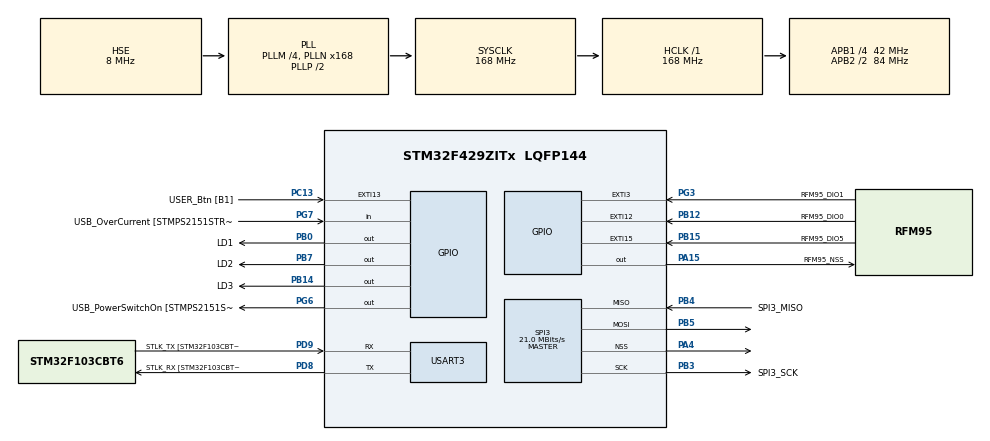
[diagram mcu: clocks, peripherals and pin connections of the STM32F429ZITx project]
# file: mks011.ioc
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Mcu.Family=STM32F4
Mcu.Name=STM32F429ZITx
Mcu.Package=LQFP144
NVIC.EXTI15_10_IRQn=true\:0\:0\:false\:false\:true\:true\:true\:true
NVIC.EXTI3_IRQn=true\:0\:0\:false\:false\:true\:true\:true\:true
NVIC.PriorityGroup=NVIC_PRIORITYGROUP_4
NVIC.SPI3_IRQn=true\:0\:0\:false\:false\:true\:true\:true\:true
PA1.GPIO_Label=RMII_REF_CLK [LAN8742A-CZ-TR_REFCLK0]
PA1.Signal=ETH_REF_CLK
PA10.GPIO_Label=USB_ID
PA10.Signal=USB_OTG_FS_ID
PA11.GPIO_Label=USB_DM
PA11.Signal=USB_OTG_FS_DM
PA12.GPIO_Label=USB_DP
PA12.Signal=USB_OTG_FS_DP
PA13.GPIO_Label=TMS
PA13.Mode=Serial_Wire
PA13.Signal=SYS_JTMS-SWDIO
PA14.GPIO_Label=TCK
PA14.Mode=Serial_Wire
PA14.Signal=SYS_JTCK-SWCLK
PA15.GPIO_Label=RFM95_NSS
PA15.Signal=GPIO_Output
PA2.GPIO_Label=RMII_MDIO [LAN8742A-CZ-TR_MDIO]
PA2.Signal=ETH_MDIO
PA4.Mode=NSS_Signal_Hard_Output
PA4.Signal=SPI3_NSS
PA7.GPIO_Label=RMII_CRS_DV [LAN8742A-CZ-TR_CRS_DV]
PA7.Signal=ETH_CRS_DV
PA8.GPIO_Label=USB_SOF [TP1]
PA8.Signal=USB_OTG_FS_SOF
PA9.GPIO_Label=USB_VBUS
PA9.Signal=USB_OTG_FS_VBUS
PB0.GPIO_Label=LD1
PB0.Signal=GPIO_Output
PB12.GPIO_Label=RFM95_DIO0
PB12.Signal=GPXTI12
PB13.GPIO_Label=RMII_TXD1 [LAN8742A-CZ-TR_TXD1]
PB13.Signal=ETH_TXD1
PB14.GPIO_Label=LD3
PB14.Signal=GPIO_Output
PB15.GPIO_Label=RFM95_DIO5
PB15.Signal=GPXTI15
PB3.GPIO_Label=SPI3_SCK
PB3.Mode=Full_Duplex_Master
PB3.Signal=SPI3_SCK
PB4.GPIO_Label=SPI3_MISO
PB4.Mode=Full_Duplex_Master
PB4.Signal=SPI3_MISO
PB5.Mode=Full_Duplex_Master
PB5.Signal=SPI3_MOSI
PB7.GPIO_Label=LD2
PB7.Signal=GPIO_Output
PC1.GPIO_Label=RMII_MDC [LAN8742A-CZ-TR_MDC]
PC1.Signal=ETH_MDC
PC13.GPIO_Label=USER_Btn [B1]
PC13.Signal=GPXTI13
PC14/OSC32_IN.Mode=LSE-External-Oscillator
PC14/OSC32_IN.Signal=RCC_OSC32_IN
PC15/OSC32_OUT.Mode=LSE-External-Oscillator
PC15/OSC32_OUT.Signal=RCC_OSC32_OUT
PC4.GPIO_Label=RMII_RXD0 [LAN8742A-CZ-TR_RXD0]
PC4.Signal=ETH_RXD0
PC5.GPIO_Label=RMII_RXD1 [LAN8742A-CZ-TR_RXD1]
PC5.Signal=ETH_RXD1
PD8.GPIO_Label=STLK_RX [STM32F103CBT6_PA3]
PD8.Mode=Asynchronous
PD8.Signal=USART3_TX
PD9.GPIO_Label=STLK_TX [STM32F103CBT6_PA2]
PD9.Mode=Asynchronous
PD9.Signal=USART3_RX
PG11.GPIO_Label=RMII_TX_EN [LAN8742A-CZ-TR_TXEN]
PG11.Signal=ETH_TX_EN
PG13.GPIO_Label=RMII_TXD0 [LAN8742A-CZ-TR_TXD0]
PG13.Signal=ETH_TXD0
PG3.GPIO_Label=RFM95_DIO1
PG3.Signal=GPXTI3
PG6.GPIO_Label=USB_PowerSwitchOn [STMPS2151STR_EN]
PG6.Signal=GPIO_Output
PG7.GPIO_Label=USB_OverCurrent [STMPS2151STR_FAULT]
PG7.Signal=GPIO_Input
PH0/OSC_IN.GPIO_Label=MCO [STM32F103CBT6_PA8]
PH0/OSC_IN.Mode=HSE-External-Clock-Source
PH0/OSC_IN.Signal=RCC_OSC_IN
PH1/OSC_OUT.Mode=HSE-External-Clock-Source
PH1/OSC_OUT.Signal=RCC_OSC_OUT
ProjectManager.HeapSize=0x200
ProjectManager.StackSize=0x400
ProjectManager.TargetToolchain=STM32CubeIDE
RCC.48MHZClocksFreq_Value=48000000
RCC.AHBFreq_Value=168000000
RCC.APB1CLKDivider=RCC_HCLK_DIV4
RCC.APB1Freq_Value=42000000
RCC.APB1TimFreq_Value=84000000
RCC.APB2CLKDivider=RCC_HCLK_DIV2
RCC.APB2Freq_Value=84000000
RCC.APB2TimCLKDivider=2
RCC.APB2TimFreq_Value=168000000
RCC.CortexFreq_Value=168000000
RCC.HCLKFreq_Value=168000000
RCC.HSE_VALUE=8000000
RCC.HSI_VALUE=16000000
RCC.PLLM=4
RCC.PLLMUL=RCC_PLL_MUL9
RCC.PLLN=168
RCC.PLLQ=7
RCC.PLLSourceVirtual=RCC_PLLSOURCE_HSE
RCC.PRESCALERUSB=RCC_USBCLKSOURCE_PLL_DIV1_5
RCC.SYSCLKFreq_VALUE=168000000
RCC.SYSCLKSource=RCC_SYSCLKSOURCE_PLLCLK
RCC.SYSCLKSourceVirtual=RCC_SYSCLKSOURCE_PLLCLK
RCC.USBFreq_Value=48000000
RCC.VCOOutputFreq_Value=336000000
SPI3.CalculateBaudRate=21.0 MBits/s
SPI3.Direction=SPI_DIRECTION_2LINES
SPI3.Mode=SPI_MODE_MASTER
SPI3.VirtualNSS=VM_NSSHARD
SPI3.VirtualType=VM_MASTER
TIM2.Prescaler=4199
USART3.VirtualMode=VM_ASYNC
VP_RNG_VS_RNG.Mode=RNG_Activate
VP_TIM2_VS_ClockSourceINT.Mode=Internal
board=NUCLEO-F429ZI

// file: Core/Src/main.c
/* USER CODE BEGIN Header */
/**
  ******************************************************************************
  * @file           : main.c
  * @brief          : Main program body
  ******************************************************************************
  * @attention
  *
  * Copyright (c) 2025 STMicroelectronics.
  * All rights reserved.
  *
  * This software is licensed under terms that can be found in the LICENSE file
  * in the root directory of this software component.
  * If no LICENSE file comes with this software, it is provided AS-IS.
  *
  ******************************************************************************
  */
/* USER CODE END Header */
#include "main.h"

/* USER CODE BEGIN Includes */
#include "rfm95.h"
#include <stdio.h>
#include <stdlib.h>
#include <string.h>
/* USER CODE END Includes */

RNG_HandleTypeDef hrng;

SPI_HandleTypeDef hspi3;

TIM_HandleTypeDef htim2;

UART_HandleTypeDef huart3;

/* USER CODE BEGIN PV */
static uint32_t get_precision_tick(void);
static void precision_sleep_until(uint32_t target_ticks);
static uint8_t random_int(uint8_t max);
static uint8_t get_battery_level(void);

rfm95_handle_t rfm95_handle = {
    .spi_handle = &hspi3,
    .nss_port = RFM95_NSS_GPIO_Port,
    .nss_pin  = RFM95_NSS_Pin,
    .nrst_port = NULL,
    .nrst_pin = 0,
    .device_address = { 0x26, 0x0B, 0x04, 0x81 },
    .application_session_key =
      { 0x40,0x0A,0xE6,0x65,0x1A,0xA8,0x92,0x92,0x12,0xC0,0x08,0xEC,0xC2,0xC1,0x53,0x72 },
    .network_session_key =
      { 0x80,0x70,0x52,0xDA,0x22,0x5F,0x54,0xC3,0xB8,0xDC,0xAD,0xA1,0x8A,0xF2,0x85,0x34 },
    .receive_mode = RFM95_RECEIVE_MODE_NONE,
    .precision_tick_frequency = 20000,
    .precision_tick_drift_ns_per_s = 5000,
    .get_precision_tick = get_precision_tick,
    .precision_sleep_until = precision_sleep_until,
    .random_int = random_int,
    .get_battery_level = get_battery_level
};
/* USER CODE END PV */

void SystemClock_Config(void);
static void MX_GPIO_Init(void);
static void MX_USART3_UART_Init(void);
static void MX_SPI3_Init(void);
static void MX_TIM2_Init(void);
static void MX_RNG_Init(void);

/* USER CODE BEGIN 0 */
static uint32_t get_precision_tick(void)
{

    return (uint32_t)__HAL_TIM_GET_COUNTER(&htim2);
}

static void precision_sleep_until(uint32_t target_ticks)
{
    while (get_precision_tick() < target_ticks) {

        __NOP();
    }
}

static uint8_t random_int(uint8_t max)
{
	uint32_t rng;
	HAL_RNG_GenerateRandomNumber(&hrng, &rng);
	return (rng % (max + 1));
}

static uint8_t get_battery_level(void)
{
    return 0xFF;
}

/* EXTI callback for RFM95 interrupts */
void HAL_GPIO_EXTI_Callback(uint16_t GPIO_Pin)
{
  if (GPIO_Pin == RFM95_DIO0_Pin) {
      rfm95_on_interrupt(&rfm95_handle, RFM95_INTERRUPT_DIO0);
  } else if (GPIO_Pin == RFM95_DIO1_Pin) {
      rfm95_on_interrupt(&rfm95_handle, RFM95_INTERRUPT_DIO1);
  } else if (GPIO_Pin == RFM95_DIO5_Pin) {
      rfm95_on_interrupt(&rfm95_handle, RFM95_INTERRUPT_DIO5);
  }
}
/* USER CODE END 0 */

int main(void)
{

  /* MCU Configuration--------------------------------------------------------*/

  /* Reset of all peripherals, Initializes the Flash interface and the Systick. */
  HAL_Init();

  /* Configure the system clock */
  SystemClock_Config();

  /* Initialize all configured peripherals */
  MX_GPIO_Init();
  MX_USART3_UART_Init();
  MX_SPI3_Init();
  MX_TIM2_Init();
  MX_RNG_Init();
  /* USER CODE BEGIN 2 */

  uint32_t last_sent = HAL_GetTick();
  uint32_t block_until = 0;
  uint32_t counter = 0;
  char buffer[64];

  bool ok = rfm95_init(&rfm95_handle);
  if (!ok) {
      HAL_GPIO_WritePin(LD3_GPIO_Port, LD3_Pin, GPIO_PIN_SET);
      while (1) {};
  }

  if (HAL_TIM_Base_Start(&htim2) != HAL_OK) {

  }

  uint8_t data_packet[] = { 0x01, 0x02, 0x03, 0x4 };

  /* USER CODE END 2 */

  /* Infinite loop */
  /* USER CODE BEGIN WHILE */
  while (1)
  {

      if (HAL_GetTick() < block_until) {
    	  HAL_Delay(10);
          continue;
      }

      if (HAL_GPIO_ReadPin(USER_Btn_GPIO_Port, USER_Btn_Pin) == GPIO_PIN_SET) {

          sprintf(buffer, "%s;press", "228046");

          HAL_GPIO_WritePin(LD2_GPIO_Port, LD2_Pin, GPIO_PIN_SET);
          rfm95_send_receive_cycle(&rfm95_handle, (uint8_t*)buffer, strlen(buffer));
          HAL_GPIO_WritePin(LD2_GPIO_Port, LD2_Pin, GPIO_PIN_RESET);

          block_until = HAL_GetTick() + 5000;
          HAL_Delay(200);
      }

      if (HAL_GetTick() - last_sent >= 30000) {

          sprintf(buffer, "%s;%lu", "228046", counter++);

          HAL_GPIO_WritePin(LD2_GPIO_Port, LD2_Pin, GPIO_PIN_SET);
          rfm95_send_receive_cycle(&rfm95_handle, (uint8_t*)buffer, strlen(buffer));
          HAL_GPIO_WritePin(LD2_GPIO_Port, LD2_Pin, GPIO_PIN_RESET);

          last_sent = HAL_GetTick();
      }

      HAL_Delay(10);
    /* USER CODE END WHILE */

  }
}

void SystemClock_Config(void)
{
  RCC_OscInitTypeDef RCC_OscInitStruct = {0};
  RCC_ClkInitTypeDef RCC_ClkInitStruct = {0};

  /** Configure the main internal regulator output voltage
  */
  __HAL_RCC_PWR_CLK_ENABLE();
  __HAL_PWR_VOLTAGESCALING_CONFIG(PWR_REGULATOR_VOLTAGE_SCALE1);

  /** Initializes the RCC Oscillators according to the specified parameters
  * in the RCC_OscInitTypeDef structure.
  */
  RCC_OscInitStruct.OscillatorType = RCC_OSCILLATORTYPE_HSE;
  RCC_OscInitStruct.HSEState = RCC_HSE_BYPASS;
  RCC_OscInitStruct.PLL.PLLState = RCC_PLL_ON;
  RCC_OscInitStruct.PLL.PLLSource = RCC_PLLSOURCE_HSE;
  RCC_OscInitStruct.PLL.PLLM = 4;
  RCC_OscInitStruct.PLL.PLLN = 168;
  RCC_OscInitStruct.PLL.PLLP = RCC_PLLP_DIV2;
  RCC_OscInitStruct.PLL.PLLQ = 7;
  if (HAL_RCC_OscConfig(&RCC_OscInitStruct) != HAL_OK)
  {
    Error_Handler();
  }

  /** Initializes the CPU, AHB and APB buses clocks
  */
  RCC_ClkInitStruct.ClockType = RCC_CLOCKTYPE_HCLK|RCC_CLOCKTYPE_SYSCLK
                              |RCC_CLOCKTYPE_PCLK1|RCC_CLOCKTYPE_PCLK2;
  RCC_ClkInitStruct.SYSCLKSource = RCC_SYSCLKSOURCE_PLLCLK;
  RCC_ClkInitStruct.AHBCLKDivider = RCC_SYSCLK_DIV1;
  RCC_ClkInitStruct.APB1CLKDivider = RCC_HCLK_DIV4;
  RCC_ClkInitStruct.APB2CLKDivider = RCC_HCLK_DIV2;

  if (HAL_RCC_ClockConfig(&RCC_ClkInitStruct, FLASH_LATENCY_5) != HAL_OK)
  {
    Error_Handler();
  }
}

static void MX_RNG_Init(void)
{

  hrng.Instance = RNG;
  if (HAL_RNG_Init(&hrng) != HAL_OK)
  {
    Error_Handler();
  }

}

static void MX_SPI3_Init(void)
{

  /* SPI3 parameter configuration*/
  hspi3.Instance = SPI3;
  hspi3.Init.Mode = SPI_MODE_MASTER;
  hspi3.Init.Direction = SPI_DIRECTION_2LINES;
  hspi3.Init.DataSize = SPI_DATASIZE_8BIT;
  hspi3.Init.CLKPolarity = SPI_POLARITY_LOW;
  hspi3.Init.CLKPhase = SPI_PHASE_1EDGE;
  //hspi3.Init.NSS = SPI_NSS_HARD_OUTPUT;
  hspi3.Init.NSS = SPI_NSS_SOFT;
  hspi3.Init.BaudRatePrescaler = SPI_BAUDRATEPRESCALER_2;
  hspi3.Init.FirstBit = SPI_FIRSTBIT_MSB;
  hspi3.Init.TIMode = SPI_TIMODE_DISABLE;
  hspi3.Init.CRCCalculation = SPI_CRCCALCULATION_DISABLE;
  hspi3.Init.CRCPolynomial = 10;
  if (HAL_SPI_Init(&hspi3) != HAL_OK)
  {
    Error_Handler();
  }

}

static void MX_TIM2_Init(void)
{

  TIM_ClockConfigTypeDef sClockSourceConfig = {0};
  TIM_MasterConfigTypeDef sMasterConfig = {0};

  htim2.Instance = TIM2;
  htim2.Init.Prescaler = 4199;
  htim2.Init.CounterMode = TIM_COUNTERMODE_UP;
  htim2.Init.Period = 4294967295;
  htim2.Init.ClockDivision = TIM_CLOCKDIVISION_DIV1;
  htim2.Init.AutoReloadPreload = TIM_AUTORELOAD_PRELOAD_DISABLE;
  if (HAL_TIM_Base_Init(&htim2) != HAL_OK)
  {
    Error_Handler();
  }
  sClockSourceConfig.ClockSource = TIM_CLOCKSOURCE_INTERNAL;
  if (HAL_TIM_ConfigClockSource(&htim2, &sClockSourceConfig) != HAL_OK)
  {
    Error_Handler();
  }
  sMasterConfig.MasterOutputTrigger = TIM_TRGO_RESET;
  sMasterConfig.MasterSlaveMode = TIM_MASTERSLAVEMODE_DISABLE;
  if (HAL_TIMEx_MasterConfigSynchronization(&htim2, &sMasterConfig) != HAL_OK)
  {
    Error_Handler();
  }

}

static void MX_USART3_UART_Init(void)
{

  huart3.Instance = USART3;
  huart3.Init.BaudRate = 115200;
  huart3.Init.WordLength = UART_WORDLENGTH_8B;
  huart3.Init.StopBits = UART_STOPBITS_1;
  huart3.Init.Parity = UART_PARITY_NONE;
  huart3.Init.Mode = UART_MODE_TX_RX;
  huart3.Init.HwFlowCtl = UART_HWCONTROL_NONE;
  huart3.Init.OverSampling = UART_OVERSAMPLING_16;
  if (HAL_UART_Init(&huart3) != HAL_OK)
  {
    Error_Handler();
  }

}

static void MX_GPIO_Init(void)
{
  GPIO_InitTypeDef GPIO_InitStruct = {0};

  /* GPIO Ports Clock Enable */
  __HAL_RCC_GPIOC_CLK_ENABLE();
  __HAL_RCC_GPIOH_CLK_ENABLE();
  __HAL_RCC_GPIOA_CLK_ENABLE();
  __HAL_RCC_GPIOB_CLK_ENABLE();
  __HAL_RCC_GPIOD_CLK_ENABLE();
  __HAL_RCC_GPIOG_CLK_ENABLE();

  /*Configure GPIO pin Output Level */
  HAL_GPIO_WritePin(GPIOB, LD1_Pin|LD3_Pin|LD2_Pin, GPIO_PIN_RESET);

  /*Configure GPIO pin Output Level */
  HAL_GPIO_WritePin(USB_PowerSwitchOn_GPIO_Port, USB_PowerSwitchOn_Pin, GPIO_PIN_RESET);

  /*Configure GPIO pin Output Level */
  HAL_GPIO_WritePin(RFM95_NSS_GPIO_Port, RFM95_NSS_Pin, GPIO_PIN_RESET);

  /*Configure GPIO pin : USER_Btn_Pin */
  GPIO_InitStruct.Pin = USER_Btn_Pin;
  GPIO_InitStruct.Mode = GPIO_MODE_IT_RISING;
  GPIO_InitStruct.Pull = GPIO_NOPULL;
  HAL_GPIO_Init(USER_Btn_GPIO_Port, &GPIO_InitStruct);

  /*Configure GPIO pins : RMII_MDC_Pin RMII_RXD0_Pin RMII_RXD1_Pin */
  GPIO_InitStruct.Pin = RMII_MDC_Pin|RMII_RXD0_Pin|RMII_RXD1_Pin;
  GPIO_InitStruct.Mode = GPIO_MODE_AF_PP;
  GPIO_InitStruct.Pull = GPIO_NOPULL;
  GPIO_InitStruct.Speed = GPIO_SPEED_FREQ_VERY_HIGH;
  GPIO_InitStruct.Alternate = GPIO_AF11_ETH;
  HAL_GPIO_Init(GPIOC, &GPIO_InitStruct);

  /*Configure GPIO pins : RMII_REF_CLK_Pin RMII_MDIO_Pin RMII_CRS_DV_Pin */
  GPIO_InitStruct.Pin = RMII_REF_CLK_Pin|RMII_MDIO_Pin|RMII_CRS_DV_Pin;
  GPIO_InitStruct.Mode = GPIO_MODE_AF_PP;
  GPIO_InitStruct.Pull = GPIO_NOPULL;
  GPIO_InitStruct.Speed = GPIO_SPEED_FREQ_VERY_HIGH;
  GPIO_InitStruct.Alternate = GPIO_AF11_ETH;
  HAL_GPIO_Init(GPIOA, &GPIO_InitStruct);

  /*Configure GPIO pins : LD1_Pin LD3_Pin LD2_Pin */
  GPIO_InitStruct.Pin = LD1_Pin|LD3_Pin|LD2_Pin;
  GPIO_InitStruct.Mode = GPIO_MODE_OUTPUT_PP;
  GPIO_InitStruct.Pull = GPIO_NOPULL;
  GPIO_InitStruct.Speed = GPIO_SPEED_FREQ_LOW;
  HAL_GPIO_Init(GPIOB, &GPIO_InitStruct);

  /*Configure GPIO pins : RFM95_DIO0_Pin RFM95_DIO5_Pin */
  GPIO_InitStruct.Pin = RFM95_DIO0_Pin|RFM95_DIO5_Pin;
  GPIO_InitStruct.Mode = GPIO_MODE_IT_RISING;
  GPIO_InitStruct.Pull = GPIO_NOPULL;
  HAL_GPIO_Init(GPIOB, &GPIO_InitStruct);

  /*Configure GPIO pin : RMII_TXD1_Pin */
  GPIO_InitStruct.Pin = RMII_TXD1_Pin;
  GPIO_InitStruct.Mode = GPIO_MODE_AF_PP;
  GPIO_InitStruct.Pull = GPIO_NOPULL;
  GPIO_InitStruct.Speed = GPIO_SPEED_FREQ_VERY_HIGH;
  GPIO_InitStruct.Alternate = GPIO_AF11_ETH;
  HAL_GPIO_Init(RMII_TXD1_GPIO_Port, &GPIO_InitStruct);

  /*Configure GPIO pin : RFM95_DIO1_Pin */
  GPIO_InitStruct.Pin = RFM95_DIO1_Pin;
  GPIO_InitStruct.Mode = GPIO_MODE_IT_RISING;
  GPIO_InitStruct.Pull = GPIO_NOPULL;
  HAL_GPIO_Init(RFM95_DIO1_GPIO_Port, &GPIO_InitStruct);

  /*Configure GPIO pin : USB_PowerSwitchOn_Pin */
  GPIO_InitStruct.Pin = USB_PowerSwitchOn_Pin;
  GPIO_InitStruct.Mode = GPIO_MODE_OUTPUT_PP;
  GPIO_InitStruct.Pull = GPIO_NOPULL;
  GPIO_InitStruct.Speed = GPIO_SPEED_FREQ_LOW;
  HAL_GPIO_Init(USB_PowerSwitchOn_GPIO_Port, &GPIO_InitStruct);

  /*Configure GPIO pin : USB_OverCurrent_Pin */
  GPIO_InitStruct.Pin = USB_OverCurrent_Pin;
  GPIO_InitStruct.Mode = GPIO_MODE_INPUT;
  GPIO_InitStruct.Pull = GPIO_NOPULL;
  HAL_GPIO_Init(USB_OverCurrent_GPIO_Port, &GPIO_InitStruct);

  /*Configure GPIO pins : USB_SOF_Pin USB_ID_Pin USB_DM_Pin USB_DP_Pin */
  GPIO_InitStruct.Pin = USB_SOF_Pin|USB_ID_Pin|USB_DM_Pin|USB_DP_Pin;
  GPIO_InitStruct.Mode = GPIO_MODE_AF_PP;
  GPIO_InitStruct.Pull = GPIO_NOPULL;
  GPIO_InitStruct.Speed = GPIO_SPEED_FREQ_VERY_HIGH;
  GPIO_InitStruct.Alternate = GPIO_AF10_OTG_FS;
  HAL_GPIO_Init(GPIOA, &GPIO_InitStruct);

  /*Configure GPIO pin : USB_VBUS_Pin */
  GPIO_InitStruct.Pin = USB_VBUS_Pin;
  GPIO_InitStruct.Mode = GPIO_MODE_INPUT;
  GPIO_InitStruct.Pull = GPIO_NOPULL;
  HAL_GPIO_Init(USB_VBUS_GPIO_Port, &GPIO_InitStruct);

  /*Configure GPIO pin : RFM95_NSS_Pin */
  GPIO_InitStruct.Pin = RFM95_NSS_Pin;
  GPIO_InitStruct.Mode = GPIO_MODE_OUTPUT_PP;
  GPIO_InitStruct.Pull = GPIO_NOPULL;
  GPIO_InitStruct.Speed = GPIO_SPEED_FREQ_LOW;
  HAL_GPIO_Init(RFM95_NSS_GPIO_Port, &GPIO_InitStruct);

  /*Configure GPIO pins : RMII_TX_EN_Pin RMII_TXD0_Pin */
  GPIO_InitStruct.Pin = RMII_TX_EN_Pin|RMII_TXD0_Pin;
  GPIO_InitStruct.Mode = GPIO_MODE_AF_PP;
  GPIO_InitStruct.Pull = GPIO_NOPULL;
  GPIO_InitStruct.Speed = GPIO_SPEED_FREQ_VERY_HIGH;
  GPIO_InitStruct.Alternate = GPIO_AF11_ETH;
  HAL_GPIO_Init(GPIOG, &GPIO_InitStruct);

  /* EXTI interrupt init*/
  HAL_NVIC_SetPriority(EXTI3_IRQn, 0, 0);
  HAL_NVIC_EnableIRQ(EXTI3_IRQn);

  HAL_NVIC_SetPriority(EXTI15_10_IRQn, 0, 0);
  HAL_NVIC_EnableIRQ(EXTI15_10_IRQn);

}

void Error_Handler(void)
{
  __disable_irq();
  while (1)
  {
  }
}
